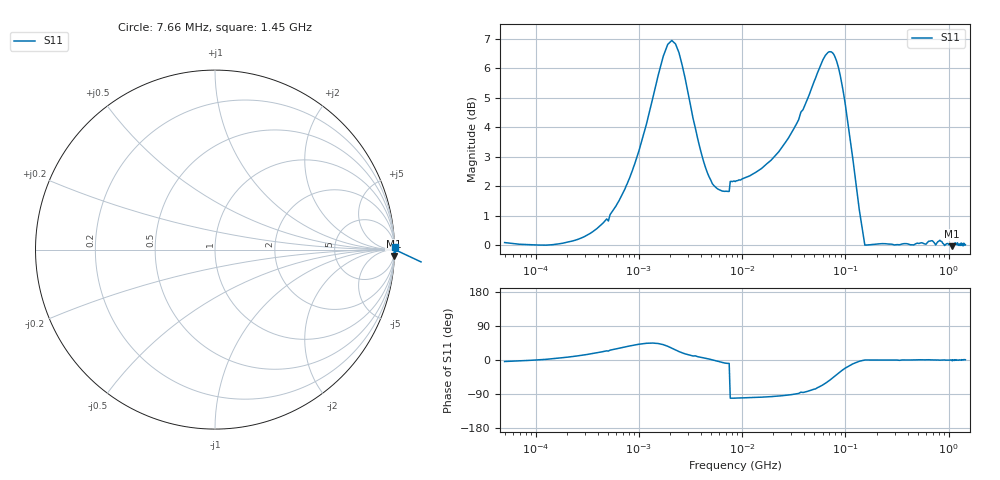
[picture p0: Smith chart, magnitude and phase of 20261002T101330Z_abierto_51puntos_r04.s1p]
! piloto_saltos / abierto_51puntos / r04
# HZ S RI R 50
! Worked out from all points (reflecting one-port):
!   251 points, 50 kHz to 1.45 GHz, reference 50 ohm
!   lowest |S11| = 0.0 dB at 1.081 GHz (marker M1), VSWR 591.17, Z = 252 - j2.72e+03 ohm
!   phase of S11 starts at -4 deg and turns +5 deg over the sweep
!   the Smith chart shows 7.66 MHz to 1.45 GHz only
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50000  1.008 -0.0707
183000  1.003 0.1062
506000  1.008 0.4397
658000  1.022 0.6306
1180000  1.151 1.115
1360000  1.261 1.249
1720000  1.59 1.358
2080000  1.899 1.156
2440000  1.962 0.8044
2800000  1.843 0.5347
3340000  1.613 0.3023
4780000  1.305 0.0574
7480000  1.219 -0.1932
7660000  -0.2407 -1.26
8560000  -0.2373 -1.26
1.9e7  -0.1611 -1.384
3.16e7  -0.0109 -1.576
4.06e7  0.1669 -1.721
5.14e7  0.4571 -1.866
6.4e7  1.006 -1.842
7.3e7  1.366 -1.629
8.56e7  1.644 -1.138
9.82e7  1.627 -0.6744
1.18e8  1.377 -0.2454
1.54e8  1.001 0.000363
4.06e8  1.005 0.000558
1.081e9  0.996 -0.0364
1.45e9  1.002 0.0124
